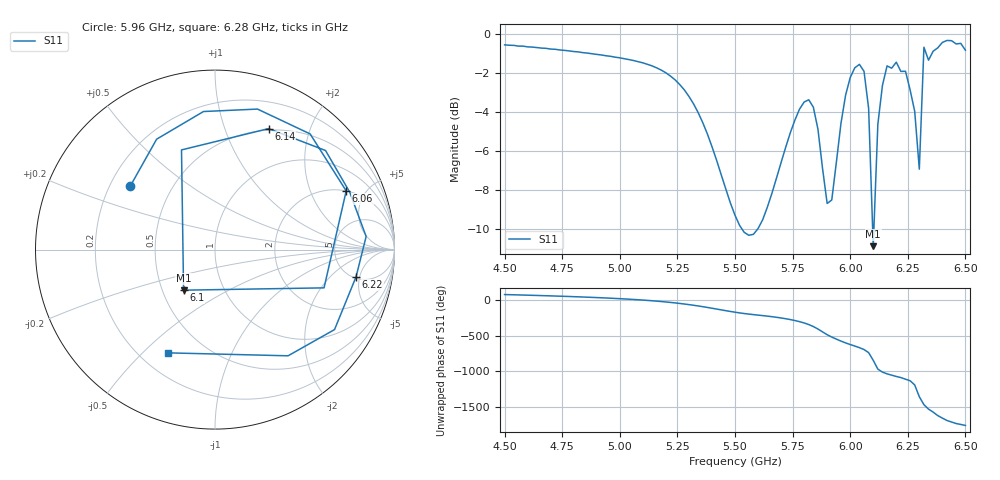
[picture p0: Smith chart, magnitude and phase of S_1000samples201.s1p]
! TOUCHSTONE file generated by CST MICROWAVE STUDIO
! Date and time: Thu Oct 27 08:50:27 2022
! Project name: L.cst
! Parameters = {Di=1.27; Epsilon_r=1.56; InnerDiameter=1.27; Length=2; Lf=10; Lg=60; OuterConductorThickness=0.2921; OuterDiameter=3.6; Wf=3; Wp=41.2; de=1.5; df=6.8; g=0.8; gx=3.645; gy=1.95295; h=2.34; hf=1.524; px=10.5381; py=14.2007; w=9.7; wx=6.89308; wy=12.2477}
! Header version: 2018
! Port assignment regex: !\s*Touchstone port\s*([0-9]+)\s*=\s*(CST MWS port|CST DS port)\s*([0-9]+|Zmin|Zmax)\s*\(\"(.*)\"\)(\s*mode\s*([0-9]+))?.*
! Touchstone port assignment:
! Touchstone port 1 = CST MWS port 1 ("")
# GHz S DB R 50
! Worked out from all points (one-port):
!   101 points, 4.5 GHz to 6.5 GHz, reference 50 ohm
!   lowest |S11| = -10.9 dB at 6.1 GHz (marker M1), VSWR 1.80, Z = 32.1 - j15.8 ohm
!   |S11| at or under -10 dB: 5.531 GHz to 5.598 GHz (67.75 MHz wide, 1.22 % of centre); 6.097519 GHz to 6.102807 GHz (5.287 MHz wide, 0.0867 % of centre)
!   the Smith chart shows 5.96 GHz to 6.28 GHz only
!   S11 on the Smith chart (normalised r, x): 5.96 GHz: 0.28, +0.31; 6.06 GHz: 2.00, +3.65; 6.1 GHz: 0.64, -0.32; 6.14 GHz: 0.48, +1.42; 6.22 GHz: 5.23, -4.41; 6.28 GHz: 0.31, -0.60
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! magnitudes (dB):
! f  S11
! 4.5 GHz  -0.6
! 4.76 GHz  -0.9
! 5 GHz  -1.2
! 5.26 GHz  -2.6
! 5.36 GHz  -4.6
! 5.5 GHz  -9.3
! 5.56 GHz  -10.3
! 5.6 GHz  -10.0
! 5.76 GHz  -4.4
! 5.84 GHz  -3.8
! 5.9 GHz  -8.7
! 5.92 GHz  -8.5
! 5.96 GHz  -4.6
! 6 GHz  -2.2
! 6.06 GHz  -1.9
! 6.08 GHz  -3.8
! 6.1 GHz  -10.9
! 6.12 GHz  -4.6
! 6.14 GHz  -2.6
! 6.16 GHz  -1.6
! 6.22 GHz  -1.9
! 6.26 GHz  -2.9
! 6.28 GHz  -4.0
! 6.3 GHz  -6.9
! 6.32 GHz  -0.7
! 6.34 GHz  -1.4
! 6.42 GHz  -0.3
! 6.5 GHz  -0.8
